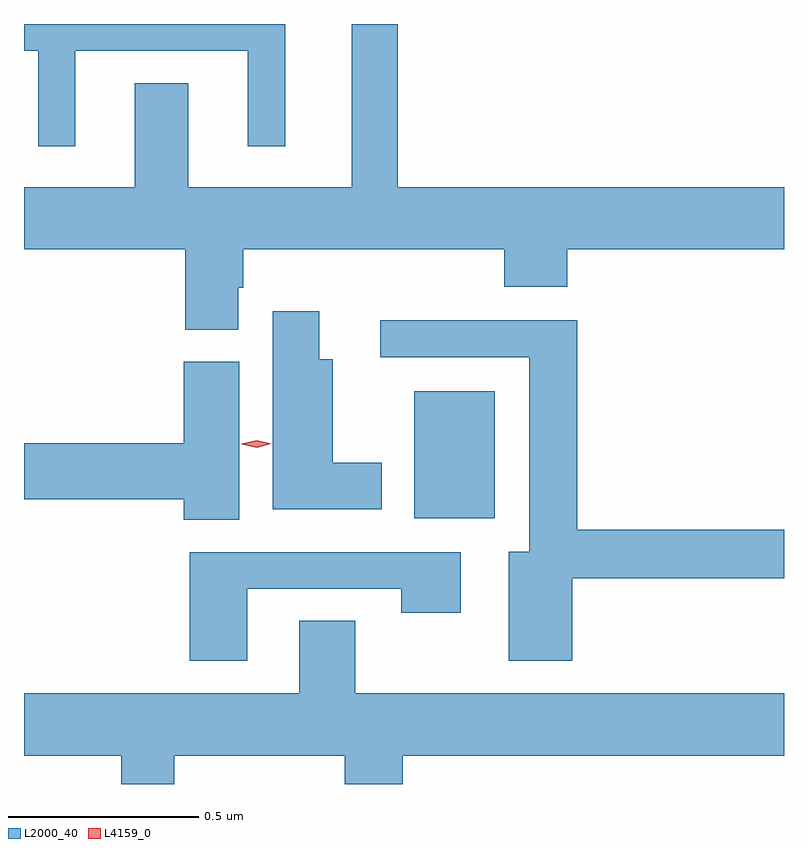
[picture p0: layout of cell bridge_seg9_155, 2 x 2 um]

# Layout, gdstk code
import gdstk
lib = gdstk.Library(unit=1e-6, precision=1e-09)
def R(c, l, rs):  # rectangles x0, y0, x1, y1
    for r in rs: c.add(gdstk.rectangle(r[:2], r[2:], *l))
def P(c, l, *ps):  # polygons
    for p in ps: c.add(gdstk.Polygon(p, *l))
L2000_40 = (2000, 40)
L4159_0 = (4159, 0)

bridge_seg9_155 = lib.new_cell('bridge_seg9_155')
R(bridge_seg9_155, L2000_40, [(544.688,1166.408,544.9,1166.743)])
P(bridge_seg9_155, L2000_40, [(544.225,1167.015),(544.238,1167.015),(544.238,1167.116),(544.925,1167.116),(544.925,1167.017),(545.09,1167.017),(545.09,1167.116),(545.661,1167.116),(545.661,1167.28),(544.645,1167.28),(544.645,1167.709),(544.523,1167.709),(544.523,1167.28),(544.093,1167.28),(544.093,1167.553),(543.953,1167.553),(543.953,1167.28),(543.661,1167.28),(543.661,1167.116),(544.085,1167.116),(544.085,1166.905),(544.225,1166.905)],
  [(543.796,1167.638),(544.25,1167.638),(544.25,1167.387),(544.348,1167.387),(544.348,1167.709),(543.661,1167.709),(543.661,1167.638),(543.698,1167.638),(543.698,1167.387),(543.796,1167.387)],
  [(544.603,1166.554),(544.474,1166.554),(544.474,1166.827),(544.438,1166.827),(544.438,1166.953),(544.316,1166.953),(544.316,1166.432),(544.603,1166.432)],
  [(545.104,1166.25),(545.661,1166.25),(545.661,1166.378),(545.117,1166.378),(545.117,1166.93),(544.599,1166.93),(544.599,1166.832),(544.991,1166.832),(544.991,1166.32),(544.937,1166.32),(544.937,1166.034),(545.104,1166.034)],
  [(544.228,1166.82),(544.082,1166.82),(544.082,1166.606),(543.661,1166.606),(543.661,1166.459),(544.082,1166.459),(544.082,1166.404),(544.228,1166.404)],
  [(544.249,1166.223),(544.654,1166.223),(544.654,1166.16),(544.81,1166.16),(544.81,1166.319),(544.097,1166.319),(544.097,1166.034),(544.249,1166.034)],
  [(544.057,1165.784),(544.505,1165.784),(544.505,1165.709),(544.658,1165.709),(544.658,1165.784),(545.661,1165.784),(545.661,1165.948),(544.533,1165.948),(544.533,1166.138),(544.385,1166.138),(544.385,1165.948),(543.661,1165.948),(543.661,1165.784),(543.917,1165.784),(543.917,1165.709),(544.057,1165.709)])
P(bridge_seg9_155, L4159_0, [(544.273,1166.594),(544.234,1166.603),(544.233,1166.604),(544.234,1166.604),(544.273,1166.614),(544.312,1166.604),(544.312,1166.604),(544.312,1166.604)])

lib.write_gds('bridge_seg9_155.gds')
